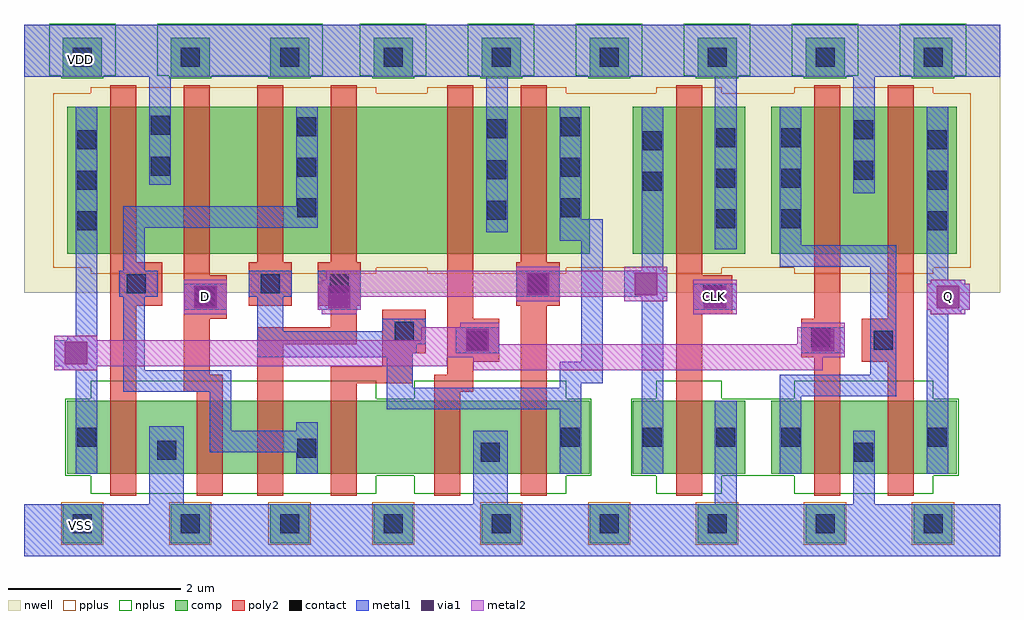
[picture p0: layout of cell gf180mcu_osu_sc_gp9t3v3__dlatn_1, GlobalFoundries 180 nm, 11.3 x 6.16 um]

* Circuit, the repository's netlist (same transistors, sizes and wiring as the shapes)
* Copyright 2022 Google LLC
*
* Licensed under the Apache License, Version 2.0 (the "License");
* you may not use this file except in compliance with the License.
* You may obtain a copy of the License at
*
*      http://www.apache.org/licenses/LICENSE-2.0
*
* Unless required by applicable law or agreed to in writing, software
* distributed under the License is distributed on an "AS IS" BASIS,
* WITHOUT WARRANTIES OR CONDITIONS OF ANY KIND, either express or implied.
* See the License for the specific language governing permissions and
* limitations under the License.

.inc "/import/yukari1/lrburle/OSU_180/char/techfiles/design.hspice"
.lib "/import/yukari1/lrburle/OSU_180/char/techfiles/sm141064.hspice" typical

.GLOBAL VDD
.GLOBAL VSS

.option scale=0.05u

.subckt gf180mcu_osu_sc_gp9t3v3__dlatn_1 D Q CLK
X0 VDD a_10_19 a_77_70 VDD pmos_3p3 w=34 l=6
X1 VDD CLK a_54_14 VDD pmos_3p3 w=34 l=6
X2 a_52_58 a_54_14 VSS VSS nmos_3p3 w=17 l=6
X3 VDD a_20_14 a_10_19 VDD pmos_3p3 w=34 l=6
X4 a_52_58 a_54_14 VDD VDD pmos_3p3 w=34 l=6
X5 a_46_19 D VSS VSS nmos_3p3 w=17 l=6
X6 a_20_14 a_54_14 a_46_19 VSS nmos_3p3 w=17 l=6
X7 VSS a_10_19 a_173_19 VSS nmos_3p3 w=17 l=6
X8 a_20_14 a_52_58 a_43_70 VDD pmos_3p3 w=34 l=6
X9 VDD a_10_19 a_173_19 VDD pmos_3p3 w=34 l=6
X10 a_77_19 a_52_58 a_20_14 VSS nmos_3p3 w=17 l=6
X11 Q a_173_19 VSS VSS nmos_3p3 w=17 l=6
X12 a_77_70 a_54_14 a_20_14 VDD pmos_3p3 w=34 l=6
X13 Q a_173_19 VDD VDD pmos_3p3 w=34 l=6
X14 VSS CLK a_54_14 VSS nmos_3p3 w=17 l=6
X15 VSS a_20_14 a_10_19 VSS nmos_3p3 w=17 l=6
X16 a_43_70 D VDD VDD pmos_3p3 w=34 l=6
X17 VSS a_10_19 a_77_19 VSS nmos_3p3 w=17 l=6
.ends

** hspice subcircuit dictionary

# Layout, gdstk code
import gdstk
lib = gdstk.Library(unit=1e-6, precision=1e-09)
def R(c, l, rs):  # rectangles x0, y0, x1, y1
    for r in rs: c.add(gdstk.rectangle(r[:2], r[2:], *l))
def A(c, l, x, y, w, h, nx, ny, dx, dy):  # array of equal rectangles
    R(c, l, [(x+i*dx, y+j*dy, x+i*dx+w, y+j*dy+h) for i in range(nx) for j in range(ny)])
nwell = (21, 0)
comp = (22, 0)
poly2 = (30, 0)
pplus = (31, 0)
nplus = (32, 0)
contact = (33, 0)
metal1 = (34, 0)
via1 = (35, 0)
metal2 = (36, 0)

gf180mcu_osu_sc_gp9t3v3_ = lib.new_cell('gf180mcu_osu_sc_gp9t3v3__dlatn_1')
R(gf180mcu_osu_sc_gp9t3v3_, nwell, [(0,3.05,11.3,6.15)])
A(gf180mcu_osu_sc_gp9t3v3_, comp, 4.05, 0.15, 0.45, 0.45, 6, 2, 1.25, 5.4)
R(gf180mcu_osu_sc_gp9t3v3_, comp, [(0.45,0.15,0.9,0.6), (1.7,0.15,2.15,0.6), (2.85,0.15,3.3,0.6), (0.5,0.95,6.55,1.8), (7.05,0.95,8.35,1.8), (8.65,0.95,10.8,1.8), (0.5,3.5,6.55,5.2), (7.05,3.5,8.35,5.2), (8.65,3.5,10.8,5.2), (0.45,5.55,0.9,6), (1.7,5.55,2.15,6), (2.85,5.55,3.3,6)])
R(gf180mcu_osu_sc_gp9t3v3_, poly2, [(1,0.7,1.3,2.9), (2,0.7,2.3,1.9), (2.7,0.7,3,2.45), (3.55,0.7,3.85,2), (4.75,0.7,5.05,1.9), (5.75,0.7,6.05,2.9), (7.55,0.7,7.85,2.8), (9.15,0.7,9.45,2.3), (10,0.7,10.3,2.25), (1.85,1.9,2.3,2.1), (4.75,1.9,5.2,2.1), (3.55,2,4.5,2.2), (1.85,2.1,2.15,2.75), (4.9,2.1,5.2,2.25), (4.15,2.2,4.5,2.35), (4.9,2.25,5.5,2.75), (9.7,2.25,10.3,2.75), (9,2.3,9.45,2.75), (4.15,2.35,4.65,2.85), (2.7,2.45,3.85,2.65), (3.55,2.65,3.85,2.9), (1.85,2.75,2.35,3.25), (4.9,2.75,5.2,5.45), (9.15,2.75,9.45,5.45), (10,2.75,10.3,5.45), (7.55,2.8,8.2,3.25), (1,2.9,1.6,3.4), (2.6,2.9,3.1,3.4), (3.4,2.9,3.9,3.4), (5.7,2.9,6.2,3.4), (1.85,3.25,2.15,5.45), (7.55,3.25,7.85,5.45), (1,3.4,1.3,5.45), (2.7,3.4,3,5.45), (3.55,3.4,3.85,5.45), (5.75,3.4,6.05,5.45)])
A(gf180mcu_osu_sc_gp9t3v3_, pplus, 4.03, 0.13, 0.49, 0.49, 6, 1, 1.25, 0)
R(gf180mcu_osu_sc_gp9t3v3_, pplus, [(0.43,0.13,0.92,0.62), (1.68,0.13,2.17,0.62), (2.83,0.13,3.32,0.62), (0.77,3.27,4.08,3.34), (4.67,3.27,6.28,3.34), (7.32,3.27,8.08,3.34), (8.92,3.27,10.53,3.34), (0.34,3.34,10.96,5.36), (0.77,5.36,4.08,5.43), (4.67,5.36,6.28,5.43), (7.32,5.36,8.08,5.43), (8.92,5.36,10.53,5.43)])
A(gf180mcu_osu_sc_gp9t3v3_, nplus, 4.03, 5.53, 0.49, 0.03, 6, 1, 1.25, 0)
A(gf180mcu_osu_sc_gp9t3v3_, nplus, 3.89, 5.56, 0.77, 0.6, 6, 1, 1.25, 0)
R(gf180mcu_osu_sc_gp9t3v3_, nplus, [(0.77,0.72,4.08,0.93), (4.52,0.72,6.28,0.93), (7.32,0.72,8.08,0.93), (8.92,0.72,10.53,0.93), (0.48,0.93,6.57,1.82), (7.03,0.93,10.82,1.82), (0.77,1.82,4.08,2.03), (4.52,1.82,6.28,2.03), (7.32,1.82,8.08,2.03), (8.92,1.82,10.53,2.03), (0.43,5.53,0.92,5.56), (1.68,5.53,2.17,5.56), (2.83,5.53,3.32,5.56), (0.29,5.56,1.06,6.16), (1.54,5.56,3.46,6.16)])
A(gf180mcu_osu_sc_gp9t3v3_, contact, 4.165, 0.265, 0.22, 0.22, 6, 2, 1.25, 5.4)
A(gf180mcu_osu_sc_gp9t3v3_, contact, 0.615, 3.77, 0.22, 0.22, 1, 3, 0, 0.47)
A(gf180mcu_osu_sc_gp9t3v3_, contact, 10.465, 3.77, 0.22, 0.22, 1, 3, 0, 0.47)
A(gf180mcu_osu_sc_gp9t3v3_, contact, 8.015, 3.795, 0.22, 0.22, 1, 3, 0, 0.47)
A(gf180mcu_osu_sc_gp9t3v3_, contact, 8.765, 3.795, 0.22, 0.22, 1, 3, 0, 0.47)
A(gf180mcu_osu_sc_gp9t3v3_, contact, 5.365, 3.895, 0.22, 0.22, 1, 3, 0, 0.47)
A(gf180mcu_osu_sc_gp9t3v3_, contact, 3.165, 3.92, 0.22, 0.22, 1, 3, 0, 0.47)
A(gf180mcu_osu_sc_gp9t3v3_, contact, 6.215, 3.92, 0.22, 0.22, 1, 3, 0, 0.47)
R(gf180mcu_osu_sc_gp9t3v3_, contact, [(0.565,0.265,0.785,0.485), (1.815,0.265,2.035,0.485), (2.965,0.265,3.185,0.485), (5.29,1.09,5.51,1.31), (9.615,1.09,9.835,1.31), (1.54,1.115,1.76,1.335), (3.165,1.14,3.385,1.36), (0.615,1.265,0.835,1.485), (6.215,1.265,6.435,1.485), (7.165,1.265,7.385,1.485), (8.015,1.265,8.235,1.485), (8.765,1.265,8.985,1.485), (10.465,1.265,10.685,1.485), (5.14,2.39,5.36,2.61), (9.84,2.39,10.06,2.61), (9.115,2.415,9.335,2.635), (4.29,2.49,4.51,2.71), (1.99,2.89,2.21,3.11), (7.865,2.915,8.085,3.135), (1.19,3.04,1.41,3.26), (2.74,3.04,2.96,3.26), (3.54,3.04,3.76,3.26), (5.84,3.04,6.06,3.26), (7.165,4.23,7.385,4.45), (9.615,4.355,9.835,4.575), (1.465,4.405,1.685,4.625), (7.165,4.7,7.385,4.92), (9.615,4.825,9.835,5.045), (1.465,4.875,1.685,5.095), (0.565,5.665,0.785,5.885), (1.815,5.665,2.035,5.885), (2.965,5.665,3.185,5.885)])
R(gf180mcu_osu_sc_gp9t3v3_, metal1, [(0,0,11.3,0.6), (1.45,0.6,1.85,1.5), (5.2,0.6,5.6,1.45), (8,0.6,8.25,1.8), (9.6,0.6,9.85,1.45), (0.6,0.95,0.85,2.15), (3.15,0.95,3.4,1.2), (6.2,0.95,6.45,1.7), (7.15,0.95,7.4,3), (8.75,0.95,9,1.85), (10.45,0.95,10.7,2.8), (2.15,1.2,3.4,1.45), (2.15,1.45,2.4,1.9), (3.15,1.45,3.4,1.55), (4.2,1.7,6.45,1.95), (8.75,1.85,10.1,2.1), (1.15,1.9,2.4,2.15), (4.2,1.95,4.5,2.3), (6.2,1.95,6.45,2), (6.2,2,6.7,2.25), (9.8,2.1,10.1,3.35), (0.45,2.15,0.85,2.2), (1.15,2.15,1.4,3), (0.35,2.2,0.85,2.5), (6.45,2.25,6.7,3.65), (2.7,2.3,4.5,2.35), (2.7,2.35,4.55,2.45), (5,2.35,5.5,2.65), (9,2.35,9.5,2.65), (2.7,2.45,4.65,2.6), (0.5,2.5,0.85,2.55), (0.6,2.55,0.85,5.2), (2.7,2.6,3,3), (4.15,2.6,4.65,2.75), (10.45,2.8,10.85,2.85), (1.85,2.85,2.35,3.15), (3.4,2.85,3.9,3.3), (7.75,2.85,8.25,3.15), (10.45,2.85,10.95,3.15), (1.1,3,1.55,3.3), (2.6,3,3.1,3.3), (5.7,3,6.2,3.3), (6.95,3,7.45,3.3), (10.45,3.15,10.85,3.2), (10.45,3.2,10.7,5.2), (1.15,3.3,1.4,3.8), (7.15,3.3,7.4,5.2), (8.75,3.35,10.1,3.6), (8,3.55,8.25,5.55), (8.75,3.6,9,5.2), (6.2,3.65,6.7,3.9), (5.35,3.75,5.6,5.55), (1.15,3.8,3.4,4.05), (6.2,3.9,6.45,5.2), (3.15,4.05,3.4,5.2), (9.6,4.2,9.85,5.55), (1.45,4.3,1.7,5.55), (0,5.55,11.3,6.15)])
R(gf180mcu_osu_sc_gp9t3v3_, via1, [(0.47,2.22,0.73,2.48), (5.12,2.37,5.38,2.63), (9.12,2.37,9.38,2.63), (1.97,2.87,2.23,3.13), (3.52,2.87,3.78,3.13), (7.87,2.87,8.13,3.13), (10.57,2.87,10.83,3.13), (5.82,3.02,6.08,3.28), (7.07,3.02,7.33,3.28)])
R(gf180mcu_osu_sc_gp9t3v3_, metal2, [(0.35,2.15,0.85,2.2), (5.2,2.15,9.25,2.3), (0.35,2.2,4.9,2.3), (0.35,2.3,9.5,2.45), (0.35,2.45,5.5,2.5), (8.95,2.45,9.5,2.65), (0.35,2.5,0.85,2.55), (4.6,2.5,5.5,2.65), (5.05,2.65,5.5,2.7), (9,2.65,9.5,2.7), (1.85,2.8,2.35,3.2), (3.45,2.8,3.85,2.85), (7.75,2.8,8.25,3.2), (10.5,2.8,10.9,2.85), (3.4,2.85,3.9,3), (10.45,2.85,10.95,3.15), (5.7,2.95,6.2,3), (6.95,2.95,7.45,3), (3.4,3,7.45,3.15), (3.45,3.15,7.45,3.2), (10.5,3.15,10.9,3.2), (3.5,3.2,7.45,3.3), (5.7,3.3,6.2,3.35), (6.95,3.3,7.45,3.35)])
gf180mcu_osu_sc_gp9t3v3_.add(gdstk.Label('VDD', (0.65,5.75), layer=34, texttype=0))
gf180mcu_osu_sc_gp9t3v3_.add(gdstk.Label('VSS', (0.65,0.35), layer=34, texttype=0))
gf180mcu_osu_sc_gp9t3v3_.add(gdstk.Label('D', (2.1,3), layer=36, texttype=10))
gf180mcu_osu_sc_gp9t3v3_.add(gdstk.Label('Q', (10.7,3), layer=36, texttype=10))
gf180mcu_osu_sc_gp9t3v3_.add(gdstk.Label('CLK', (8,3), layer=36, texttype=10))

lib.write_gds('gf180mcu_osu_sc_gp9t3v3__dlatn_1.gds')
